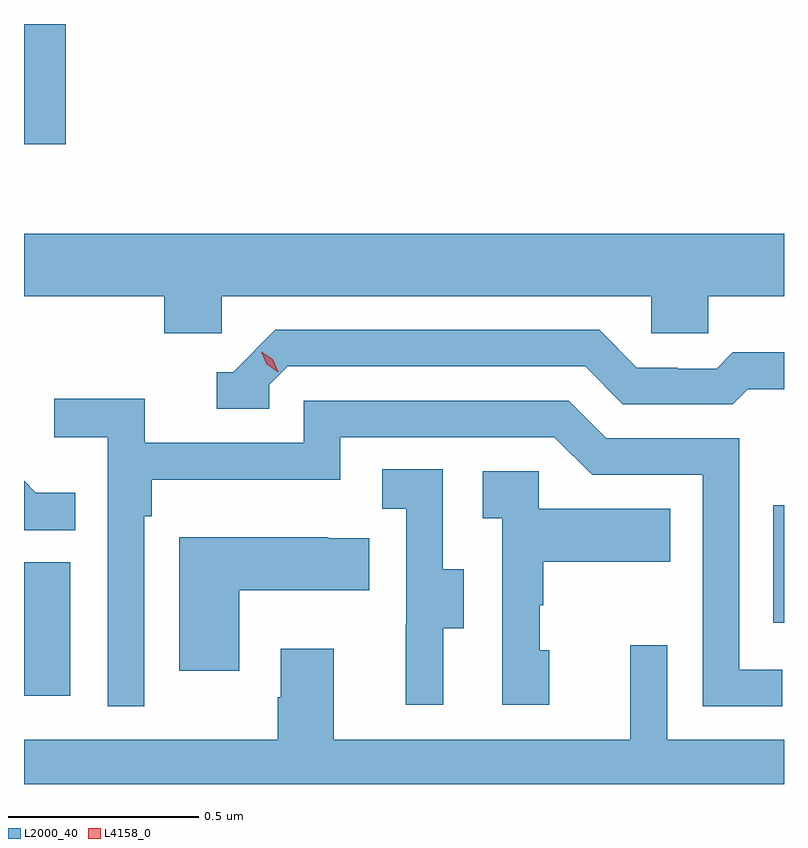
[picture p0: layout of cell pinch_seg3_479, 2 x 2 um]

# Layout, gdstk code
import gdstk
lib = gdstk.Library(unit=1e-6, precision=1e-09)
def R(c, l, rs):  # rectangles x0, y0, x1, y1
    for r in rs: c.add(gdstk.rectangle(r[:2], r[2:], *l))
def P(c, l, *ps):  # polygons
    for p in ps: c.add(gdstk.Polygon(p, *l))
L2000_40 = (2000, 40)
L4158_0 = (4158, 0)

pinch_seg3_479 = lib.new_cell('pinch_seg3_479')
R(pinch_seg3_479, L2000_40, [(947.042,667.896,947.164,668.247), (949.014,668.088,949.042,668.398), (947.042,669.348,947.152,669.664)])
P(pinch_seg3_479, L2000_40, [(947.562,668.948),(948.693,668.948),(948.693,668.85),(948.843,668.85),(948.843,668.948),(949.042,668.948),(949.042,669.112),(947.042,669.112),(947.042,668.948),(947.411,668.948),(947.411,668.85),(947.562,668.85)],
  [(947.688,668.715),(947.736,668.763),(948.519,668.763),(948.618,668.664),(948.907,668.664),(948.946,668.703),(949.042,668.703),(949.042,668.8),(948.907,668.8),(948.865,668.757),(948.762,668.757),(948.762,668.76),(948.655,668.76),(948.556,668.859),(947.703,668.859),(947.592,668.748),(947.549,668.748),(947.549,668.652),(947.688,668.652)],
  [(947.358,668.369),(947.378,668.369),(947.378,668.465),(947.874,668.465),(947.874,668.577),(948.438,668.577),(948.537,668.478),(948.828,668.478),(948.828,667.869),(949.037,667.869),(949.037,667.965),(948.924,667.965),(948.924,668.574),(948.574,668.574),(948.475,668.673),(947.778,668.673),(947.778,668.562),(947.36,668.562),(947.36,668.678),(947.121,668.678),(947.121,668.576),(947.262,668.576),(947.262,667.869),(947.358,667.869)],
  [(948.145,668.074),(948.199,668.074),(948.199,668.229),(948.144,668.229),(948.144,668.492),(947.985,668.492),(947.985,668.389),(948.048,668.389),(948.048,668.085),(948.047,668.085),(948.047,667.872),(948.145,667.872)],
  [(948.424,668.016),(948.399,668.016),(948.399,668.135),(948.409,668.135),(948.409,668.249),(948.743,668.249),(948.743,668.389),(948.396,668.389),(948.396,668.487),(948.249,668.487),(948.249,668.363),(948.3,668.363),(948.3,667.872),(948.424,667.872)],
  [(947.177,668.431),(947.073,668.431),(947.042,668.462),(947.042,668.332),(947.177,668.332)],
  [(947.608,668.174),(947.951,668.174),(947.951,668.311),(947.843,668.311),(947.843,668.314),(947.45,668.314),(947.45,667.962),(947.608,667.962)],
  [(949.042,667.78),(948.735,667.78),(948.735,668.029),(948.638,668.029),(948.638,667.78),(947.857,667.78),(947.857,668.02),(947.717,668.02),(947.717,667.892),(947.71,667.892),(947.71,667.78),(947.042,667.78),(947.042,667.664),(949.042,667.664)])
P(pinch_seg3_479, L4158_0, [(947.711,668.748),(947.681,668.769),(947.666,668.802),(947.666,668.802),(947.666,668.802),(947.696,668.782),(947.711,668.749),(947.711,668.748)])

lib.write_gds('pinch_seg3_479.gds')
